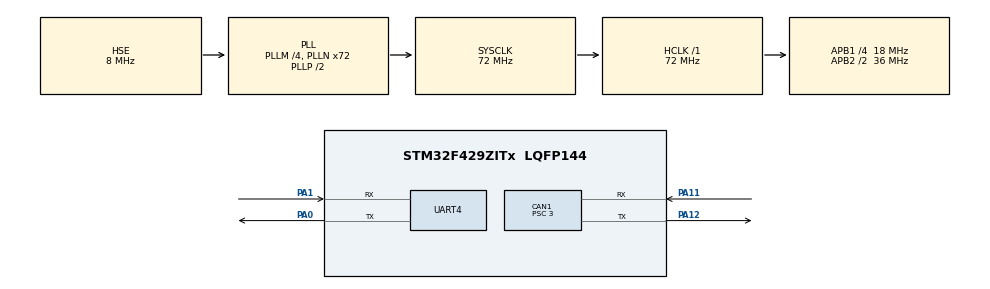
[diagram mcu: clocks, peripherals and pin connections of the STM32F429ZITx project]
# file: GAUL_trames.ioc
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CAN1.ABOM=ENABLE
CAN1.AWUM=ENABLE
CAN1.BS1=CAN_BS1_9TQ
CAN1.BS2=CAN_BS2_2TQ
CAN1.CalculateBaudRate=499999
CAN1.CalculateTimeBit=2000
CAN1.CalculateTimeQuantum=166.66666666666669
CAN1.Mode=CAN_MODE_LOOPBACK
CAN1.NART=ENABLE
CAN1.Prescaler=3
Mcu.Family=STM32F4
Mcu.Name=STM32F429ZITx
Mcu.Package=LQFP144
NVIC.PriorityGroup=NVIC_PRIORITYGROUP_4
PA0/WKUP.GPIO_Speed=GPIO_SPEED_FREQ_VERY_HIGH
PA0/WKUP.Mode=Asynchronous
PA0/WKUP.Signal=UART4_TX
PA1.GPIO_PuPd=GPIO_PULLUP
PA1.Mode=Asynchronous
PA1.Signal=UART4_RX
PA11.Mode=CAN_Activate
PA11.Signal=CAN1_RX
PA12.Mode=CAN_Activate
PA12.Signal=CAN1_TX
PA13.Mode=Serial_Wire
PA13.Signal=SYS_JTMS-SWDIO
PA14.Mode=Serial_Wire
PA14.Signal=SYS_JTCK-SWCLK
PH0/OSC_IN.Mode=HSE-External-Oscillator
PH0/OSC_IN.Signal=RCC_OSC_IN
PH1/OSC_OUT.Mode=HSE-External-Oscillator
PH1/OSC_OUT.Signal=RCC_OSC_OUT
ProjectManager.HeapSize=0x200
ProjectManager.StackSize=0x400
ProjectManager.TargetToolchain=CMake
RCC.48MHZClocksFreq_Value=36000000
RCC.AHBFreq_Value=72000000
RCC.APB1CLKDivider=RCC_HCLK_DIV4
RCC.APB1Freq_Value=18000000
RCC.APB1TimFreq_Value=36000000
RCC.APB2CLKDivider=RCC_HCLK_DIV2
RCC.APB2Freq_Value=36000000
RCC.APB2TimFreq_Value=72000000
RCC.CortexFreq_Value=72000000
RCC.HCLKFreq_Value=72000000
RCC.HSE_VALUE=8000000
RCC.HSI_VALUE=16000000
RCC.LSE_VALUE=32768
RCC.PLLM=4
RCC.PLLN=72
RCC.PLLSourceVirtual=RCC_PLLSOURCE_HSE
RCC.SYSCLKFreq_VALUE=72000000
RCC.SYSCLKSource=RCC_SYSCLKSOURCE_PLLCLK
RCC.VCOOutputFreq_Value=144000000
UART4.VirtualMode=Asynchronous
board=custom

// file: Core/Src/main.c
/* USER CODE BEGIN Header */
/**
  ******************************************************************************
  * @file           : main.c
  * @brief          : Main program body
  ******************************************************************************
  * @attention
  *
  * Copyright (c) 2025 STMicroelectronics.
  * All rights reserved.
  *
  * This software is licensed under terms that can be found in the LICENSE file
  * in the root directory of this software component.
  * If no LICENSE file comes with this software, it is provided AS-IS.
  *
  ******************************************************************************
  */
/* USER CODE END Header */
#include "main.h"
#include "can.h"
#include "usart.h"
#include "gpio.h"

/* USER CODE BEGIN Includes */
#include "protocol_defs.h"
#include "comm_utils.h"
#include "test_runner.h"
#include "comm_tx.h"
#include <string.h>
#include <stdbool.h>
#include <stdio.h>
/* USER CODE END Includes */

void SystemClock_Config(void);

int main(void)
{

  /* MCU Configuration--------------------------------------------------------*/

  /* Reset of all peripherals, Initializes the Flash interface and the Systick. */
  HAL_Init();

  /* Configure the system clock */
  SystemClock_Config();

  /* Initialize all configured peripherals */
  MX_GPIO_Init();
  MX_CAN1_Init();
  MX_UART4_Init();
  /* USER CODE BEGIN 2 */

  /* ---- CAN Filter: accept all ---- */
  CAN_Filter_Config();

  if (HAL_CAN_Start(&hcan1) != HAL_OK) {
    Error_Handler();
  }

  /* ===== Fin tests ===== */

  /* USER CODE END 2 */

  /* Infinite loop */
  /* USER CODE BEGIN WHILE */
#ifdef UNIT_TEST
  run_all_tests();
  while (1) {
  }
#else
  /* ===== Tests UART4 & CAN1 ===== */
  const char *msg = "PROTO TEST: UART($..$) + CAN(DLC=1)\r\n";
  HAL_UART_Transmit(&huart4, (uint8_t*)msg, strlen(msg), 100);

  while (1)
  {
    /* USER CODE END WHILE */

    /* USER CODE BEGIN 3 */

  }
#endif
  /* USER CODE END 3 */
}

void SystemClock_Config(void)
{
  RCC_OscInitTypeDef RCC_OscInitStruct = {0};
  RCC_ClkInitTypeDef RCC_ClkInitStruct = {0};

  /** Configure the main internal regulator output voltage
  */
  __HAL_RCC_PWR_CLK_ENABLE();
  __HAL_PWR_VOLTAGESCALING_CONFIG(PWR_REGULATOR_VOLTAGE_SCALE3);

  /** Initializes the RCC Oscillators according to the specified parameters
  * in the RCC_OscInitTypeDef structure.
  */
  RCC_OscInitStruct.OscillatorType = RCC_OSCILLATORTYPE_HSE;
  RCC_OscInitStruct.HSEState = RCC_HSE_ON;
  RCC_OscInitStruct.PLL.PLLState = RCC_PLL_ON;
  RCC_OscInitStruct.PLL.PLLSource = RCC_PLLSOURCE_HSE;
  RCC_OscInitStruct.PLL.PLLM = 4;
  RCC_OscInitStruct.PLL.PLLN = 72;
  RCC_OscInitStruct.PLL.PLLP = RCC_PLLP_DIV2;
  RCC_OscInitStruct.PLL.PLLQ = 4;
  if (HAL_RCC_OscConfig(&RCC_OscInitStruct) != HAL_OK)
  {
    Error_Handler();
  }

  /** Initializes the CPU, AHB and APB buses clocks
  */
  RCC_ClkInitStruct.ClockType = RCC_CLOCKTYPE_HCLK|RCC_CLOCKTYPE_SYSCLK
                              |RCC_CLOCKTYPE_PCLK1|RCC_CLOCKTYPE_PCLK2;
  RCC_ClkInitStruct.SYSCLKSource = RCC_SYSCLKSOURCE_PLLCLK;
  RCC_ClkInitStruct.AHBCLKDivider = RCC_SYSCLK_DIV1;
  RCC_ClkInitStruct.APB1CLKDivider = RCC_HCLK_DIV4;
  RCC_ClkInitStruct.APB2CLKDivider = RCC_HCLK_DIV2;

  if (HAL_RCC_ClockConfig(&RCC_ClkInitStruct, FLASH_LATENCY_2) != HAL_OK)
  {
    Error_Handler();
  }
}

void Error_Handler(void)
{
  __disable_irq();
  while (1)
  {
  }
}
